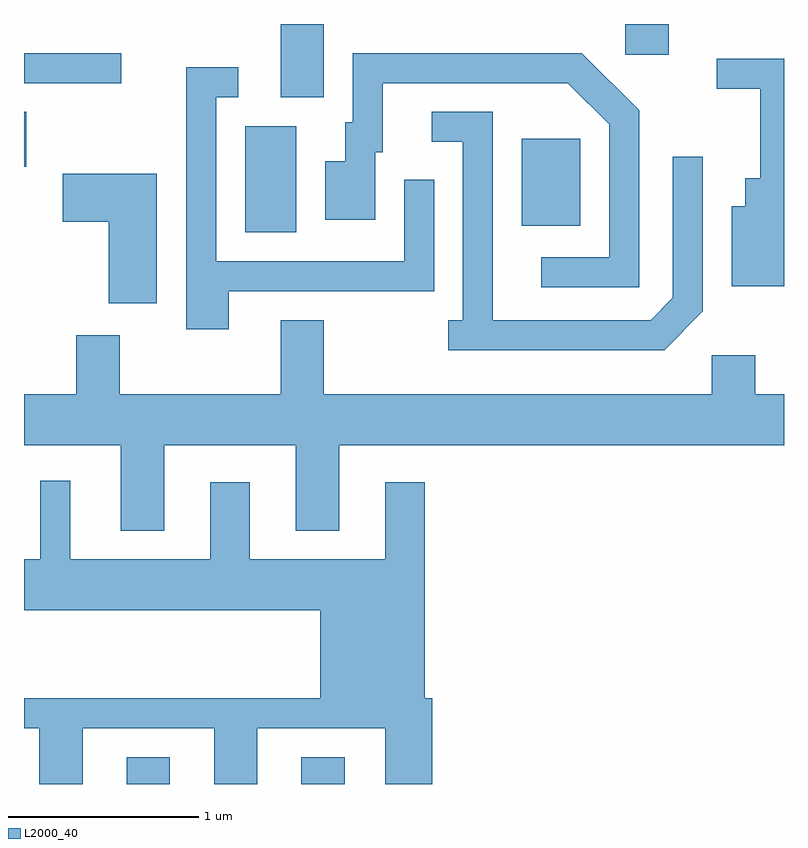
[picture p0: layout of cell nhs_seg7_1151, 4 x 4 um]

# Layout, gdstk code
import gdstk
lib = gdstk.Library(unit=1e-6, precision=1e-09)
def R(c, l, rs):  # rectangles x0, y0, x1, y1
    for r in rs: c.add(gdstk.rectangle(r[:2], r[2:], *l))
def P(c, l, *ps):  # polygons
    for p in ps: c.add(gdstk.Polygon(p, *l))
L2000_40 = (2000, 40)

nhs_seg7_1151 = lib.new_cell('nhs_seg7_1151')
R(nhs_seg7_1151, L2000_40, [(220.151,1770.252,220.379,1770.394), (221.071,1770.252,221.299,1770.394), (220.776,1773.156,221.044,1773.714), (222.231,1773.191,222.539,1773.649), (219.611,1773.501,219.624,1773.789), (220.961,1773.866,221.189,1774.252), (219.611,1773.941,220.123,1774.099), (222.776,1774.091,223.004,1774.252)])
P(nhs_seg7_1151, L2000_40, [(222.849,1773.797),(222.547,1774.099),(221.341,1774.099),(221.341,1773.734),(221.301,1773.734),(221.301,1773.529),(221.196,1773.529),(221.196,1773.221),(221.459,1773.221),(221.459,1773.576),(221.499,1773.576),(221.499,1773.941),(222.474,1773.941),(222.691,1773.724),(222.691,1773.024),(222.333,1773.024),(222.333,1772.866),(222.849,1772.866)],
  [(223.611,1774.069),(223.258,1774.069),(223.258,1773.911),(223.486,1773.911),(223.486,1773.439),(223.406,1773.439),(223.406,1773.294),(223.336,1773.294),(223.336,1772.871),(223.611,1772.871)],
  [(220.689,1772.846),(221.769,1772.846),(221.769,1773.433),(221.611,1773.433),(221.611,1773.004),(220.624,1773.004),(220.624,1773.866),(220.738,1773.866),(220.738,1774.024),(220.466,1774.024),(220.466,1772.646),(220.689,1772.646)],
  [(223.184,1772.739),(223.184,1773.553),(223.026,1773.553),(223.026,1772.812),(222.909,1772.694),(222.079,1772.694),(222.079,1773.789),(221.758,1773.789),(221.758,1773.631),(221.921,1773.631),(221.921,1772.694),(221.843,1772.694),(221.843,1772.536),(222.982,1772.536)],
  [(220.309,1773.464),(219.816,1773.464),(219.816,1773.211),(220.056,1773.211),(220.056,1772.781),(220.309,1772.781)],
  [(220.349,1772.036),(221.041,1772.036),(221.041,1771.586),(221.269,1771.586),(221.269,1772.036),(223.611,1772.036),(223.611,1772.304),(223.459,1772.304),(223.459,1772.509),(223.231,1772.509),(223.231,1772.304),(221.189,1772.304),(221.189,1772.694),(220.961,1772.694),(220.961,1772.304),(220.114,1772.304),(220.114,1772.614),(219.886,1772.614),(219.886,1772.304),(219.611,1772.304),(219.611,1772.036),(220.121,1772.036),(220.121,1771.586),(220.349,1771.586)],
  [(219.919,1770.546),(220.611,1770.546),(220.611,1770.252),(220.839,1770.252),(220.839,1770.546),(221.511,1770.546),(221.511,1770.252),(221.759,1770.252),(221.759,1770.704),(221.719,1770.704),(221.719,1771.839),(221.511,1771.839),(221.511,1771.434),(220.799,1771.434),(220.799,1771.839),(220.591,1771.839),(220.591,1771.434),(219.854,1771.434),(219.854,1771.848),(219.696,1771.848),(219.696,1771.434),(219.611,1771.434),(219.611,1771.166),(221.171,1771.166),(221.171,1770.704),(219.611,1770.704),(219.611,1770.546),(219.691,1770.546),(219.691,1770.252),(219.919,1770.252)])

lib.write_gds('nhs_seg7_1151.gds')
